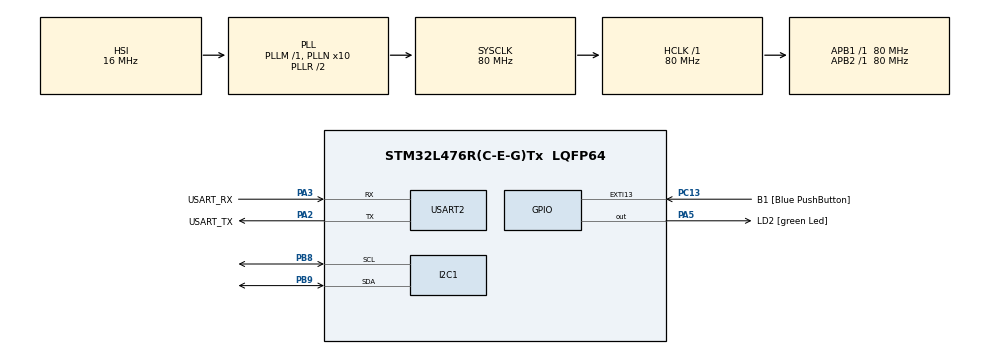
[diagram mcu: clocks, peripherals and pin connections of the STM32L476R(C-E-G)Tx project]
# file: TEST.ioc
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I2C1.Timing=0x10D19CE4
Mcu.Family=STM32L4
Mcu.Name=STM32L476R(C-E-G)Tx
Mcu.Package=LQFP64
NVIC.PriorityGroup=NVIC_PRIORITYGROUP_4
PA13\ (JTMS-SWDIO).GPIO_Label=TMS
PA13\ (JTMS-SWDIO).Mode=Serial_Wire
PA13\ (JTMS-SWDIO).Signal=SYS_JTMS-SWDIO
PA14\ (JTCK-SWCLK).GPIO_Label=TCK
PA14\ (JTCK-SWCLK).Mode=Serial_Wire
PA14\ (JTCK-SWCLK).Signal=SYS_JTCK-SWCLK
PA2.GPIO_Label=USART_TX
PA2.GPIO_Mode=GPIO_MODE_AF_PP
PA2.GPIO_PuPd=GPIO_NOPULL
PA2.GPIO_Speed=GPIO_SPEED_FREQ_VERY_HIGH
PA2.Mode=Asynchronous
PA2.Signal=USART2_TX
PA3.GPIO_Label=USART_RX
PA3.GPIO_Mode=GPIO_MODE_AF_PP
PA3.GPIO_PuPd=GPIO_NOPULL
PA3.GPIO_Speed=GPIO_SPEED_FREQ_VERY_HIGH
PA3.Mode=Asynchronous
PA3.Signal=USART2_RX
PA5.GPIO_Label=LD2 [green Led]
PA5.GPIO_ModeDefaultOutputPP=GPIO_MODE_OUTPUT_PP
PA5.GPIO_PuPd=GPIO_NOPULL
PA5.GPIO_Speed=GPIO_SPEED_FREQ_LOW
PA5.Signal=GPIO_Output
PB3\ (JTDO-TRACESWO).GPIO_Label=SWO
PB3\ (JTDO-TRACESWO).Signal=SYS_JTDO-SWO
PB8.Mode=I2C
PB8.Signal=I2C1_SCL
PB9.Mode=I2C
PB9.Signal=I2C1_SDA
PC13.GPIO_Label=B1 [Blue PushButton]
PC13.GPIO_ModeDefaultEXTI=GPIO_MODE_IT_FALLING
PC13.GPIO_PuPd=GPIO_NOPULL
PC13.Signal=GPXTI13
PC14-OSC32_IN\ (PC14).Mode=LSE-External-Oscillator
PC14-OSC32_IN\ (PC14).Signal=RCC_OSC32_IN
PC15-OSC32_OUT\ (PC15).Mode=LSE-External-Oscillator
PC15-OSC32_OUT\ (PC15).Signal=RCC_OSC32_OUT
PH0-OSC_IN\ (PH0).Signal=RCC_OSC_IN
PH1-OSC_OUT\ (PH1).Signal=RCC_OSC_OUT
ProjectManager.HeapSize=0x200
ProjectManager.StackSize=0x400
ProjectManager.TargetToolchain=STM32CubeIDE
RCC.ADCFreq_Value=64000000
RCC.AHBFreq_Value=80000000
RCC.APB1Freq_Value=80000000
RCC.APB1TimFreq_Value=80000000
RCC.APB2Freq_Value=80000000
RCC.APB2TimFreq_Value=80000000
RCC.CortexFreq_Value=80000000
RCC.HCLKFreq_Value=80000000
RCC.HSE_VALUE=8000000
RCC.HSI_VALUE=16000000
RCC.MSI_VALUE=4000000
RCC.PLLN=10
RCC.PLLSourceVirtual=RCC_PLLSOURCE_HSI
RCC.PREFETCH_ENABLE=1
RCC.SYSCLKFreq_VALUE=80000000
RCC.SYSCLKSource=RCC_SYSCLKSOURCE_PLLCLK
RCC.USBFreq_Value=64000000
RCC.VCOOutputFreq_Value=160000000
USART2.VirtualMode-Asynchronous=VM_ASYNC
VP_RTC_VS_RTC_Activate.Mode=RTC_Enabled
board=NUCLEO-L476RG

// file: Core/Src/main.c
/* USER CODE BEGIN Header */
/**
  ******************************************************************************
  * @file           : main.c
  * @brief          : Main program body
  ******************************************************************************
  * @attention
  *
  * Copyright (c) 2026 STMicroelectronics.
  * All rights reserved.
  *
  * This software is licensed under terms that can be found in the LICENSE file
  * in the root directory of this software component.
  * If no LICENSE file comes with this software, it is provided AS-IS.
  *
  ******************************************************************************
  */
/* USER CODE END Header */
#include "main.h"

/* USER CODE BEGIN Includes */
#include "bme68x_necessary_functions.h"  // Main header from the library
#include <stdio.h>

#include "scd4x_i2c.h"
#include "sensirion_i2c_hal.h"
#include <stdio.h>
#include "sps30_i2c.h"

/* USER CODE END Includes */

I2C_HandleTypeDef hi2c1;

RTC_HandleTypeDef hrtc;

UART_HandleTypeDef huart2;

/* USER CODE BEGIN PV */

//Data structure for BME688 sensor from the driver.
struct bme68x_data bme_data;

//Data structure for SCD41 sensor
typedef struct {
    uint16_t co2;           // CO₂ in ppm
    int32_t    temperature;   // °C
    int32_t    humidity;      // %RH
} scd41_data_t;

scd41_data_t scd41_data;

//Data structure for SPS30 sensor
typedef struct {
    float mc_1p0;   // Mass concentration PM1.0 [µg/m³]
    float mc_2p5;
    float mc_4p0;
    float mc_10p0;

    float nc_0p5;   // Number concentration [#/cm³]
    float nc_1p0;
    float nc_2p5;
    float nc_4p0;
    float nc_10p0;

    float typical_particle_size;  // µm
} sps30_data_t;

sps30_data_t sps30_data;

uint32_t last_frame_time = 0;
uint32_t reading_num = 0;

/* USER CODE END PV */

void SystemClock_Config(void);
static void MX_GPIO_Init(void);
static void MX_I2C1_Init(void);
static void MX_USART2_UART_Init(void);
static void MX_RTC_Init(void);
/* USER CODE BEGIN PFP */

int ei_add_sensor_reading(
    float co2,
    float temp,
    float humidity,
    float pressure,
    float gas_resistance,
    float pm1_0,
    float pm2_5,
    float pm4_0,
    float pm10_0,
    float pnc_0_5,
    float pnc_1_0,
    float pnc_2_5,
    float pnc_4_0,
    float pnc_10_0,
    float tps
);

/* USER CODE END PFP */

int main(void)
{

  /* MCU Configuration--------------------------------------------------------*/

  /* Reset of all peripherals, Initializes the Flash interface and the Systick. */
  HAL_Init();

  /* Configure the system clock */
  SystemClock_Config();

  /* Initialize all configured peripherals */
  MX_GPIO_Init();
  MX_I2C1_Init();
  MX_USART2_UART_Init();
  MX_RTC_Init();
  /* USER CODE BEGIN 2 */

// I2C SCANNER FUNCTION

  void I2C_Scan(I2C_HandleTypeDef *hi2c)
  {
      printf("Scanning I2C bus...\r\n");

      for (uint8_t i = 1; i < 127; i++)
      {
          if (HAL_I2C_IsDeviceReady(hi2c, (i << 1), 2, 10) == HAL_OK)
          {
              printf("Device found at 0x%02X\r\n", i);
          }
      }

      printf("Scan complete\r\n");
  }

  I2C_Scan(&hi2c1);

    if (bme68x_start(&bme_data, &hi2c1) != 0) {
        printf("BME688 initialization failed!\r\n");
        while(1);
    }
    printf("BME688 initialized successfully!\r\n");

    sensirion_i2c_hal_init();

        scd4x_init(0x62);                                 // Initialise sensor

        scd4x_stop_periodic_measurement();                // Safe start

        int16_t err = scd4x_start_periodic_measurement(); // Start continuous measurement
        if (err != 0) {
            printf("SCD41 initialisation failed! Error = %d\r\n", err);
            while(1);
        }

        printf("SCD41 initialised successfully!\r\n");
        printf("Waiting for first reading (~5-10 seconds)...\r\n\r\n");

        sps30_init(SPS30_I2C_ADDR_69);

        int16_t ret = sps30_wake_up_sequence();
            if (ret != 0) {
                printf("SPS30 wake-up failed: %d\r\n", ret);
            }

            ret = sps30_start_measurement(SPS30_OUTPUT_FORMAT_OUTPUT_FORMAT_FLOAT);
                if (ret != 0) {
                    printf("SPS30 start measurement failed! Error: %d\r\n", ret);
                } else {
                    printf("SPS30 initialised successfully (Float mode)\r\n");
                }

  /* USER CODE END 2 */

  /* Infinite loop */
  /* USER CODE BEGIN WHILE */

        HAL_Delay(15000);
          printf(",co2,temp,humidity,pressure,gas_resistance,pm1_0,pm2_5,pm4_0,pm10_0,pnc_0_5,pnc_1_0,pnc_2_5,pnc_4_0,pnc_10_0,tps\r\n");

  while (1)
  {
    /* USER CODE END WHILE */

    /* USER CODE BEGIN 3 */

	  uint32_t now = HAL_GetTick();

	      if (sps30_read_measurement_values_float(
	              &sps30_data.mc_1p0, &sps30_data.mc_2p5,
	              &sps30_data.mc_4p0, &sps30_data.mc_10p0,
	              &sps30_data.nc_0p5, &sps30_data.nc_1p0,
	              &sps30_data.nc_2p5, &sps30_data.nc_4p0,
	              &sps30_data.nc_10p0, &sps30_data.typical_particle_size) != 0)
	      {

	      }

	      bme68x_single_measure(&bme_data);

	        ei_add_sensor_reading(
	            (float)scd41_data.co2,
	            bme_data.temperature,
	            bme_data.humidity,
	            bme_data.pressure,
	            bme_data.gas_resistance,
	            sps30_data.mc_1p0,
	            sps30_data.mc_2p5,
	            sps30_data.mc_4p0,
	            sps30_data.mc_10p0,
	            sps30_data.nc_0p5,
	            sps30_data.nc_1p0,
	            sps30_data.nc_2p5,
	            sps30_data.nc_4p0,
	            sps30_data.nc_10p0,
	            sps30_data.typical_particle_size
	        );

	      if (now - last_frame_time >= 5000)   // 5 second MASTER FRAME
	      {
	          last_frame_time = now;

	          scd4x_get_data_ready_status(false);
	          scd4x_read_measurement(
	              &scd41_data.co2,
	              &scd41_data.temperature,
	              &scd41_data.humidity
	          );

	          uint32_t ms = now;
	          uint32_t seconds = ms / 1000;
	          uint32_t minutes = seconds / 60;
	          uint32_t hours   = minutes / 60;

	          seconds %= 60;
	          minutes %= 60;
	          hours %= 24;

		       // printf("%02lu:%02lu:%02lu, %lu, %4u, %.2f, %.2f, %.2f, %.2f, %.2f, %.2f, %.2f, %.2f, %.2f, %.2f, %.2f, %.2f, %.2f, %.2f\r\n",
				        printf(",%4u, %.2f, %.2f, %.2f, %.2f, %.2f, %.2f, %.2f, %.2f, %.2f, %.2f, %.2f, %.2f, %.2f, %.2f\r\n",

		                       scd41_data.co2,
		                       bme_data.temperature, bme_data.humidity, bme_data.pressure,bme_data.gas_resistance,
		                          sps30_data.mc_1p0, sps30_data.mc_2p5,
		                          sps30_data.mc_4p0, sps30_data.mc_10p0,
		                          sps30_data.nc_0p5, sps30_data.nc_1p0,
		                          sps30_data.nc_2p5, sps30_data.nc_4p0,
		                          sps30_data.nc_10p0, sps30_data.typical_particle_size);

//   TIME | # | CO2 | TEMP | HUMIDITY |PRESSURE | GAS RESISTANCE | PM1.0 | PM2.5| PM4.0 | PM10.0| PNC 0.5 | PNC 1.0 | PNC 2.5 | PNC 4.0 |PNC 10.0| TPS

	      }

	/*

	  int16_t ret = sps30_read_measurement_values_float(
	                          &sps30_data.mc_1p0, &sps30_data.mc_2p5,
	                          &sps30_data.mc_4p0, &sps30_data.mc_10p0,
	                          &sps30_data.nc_0p5, &sps30_data.nc_1p0,
	                          &sps30_data.nc_2p5, &sps30_data.nc_4p0,
	                          &sps30_data.nc_10p0, &sps30_data.typical_particle_size);

	          if (ret != 0) {
	              printf("SPS30 read error: %d\r\n", ret);
	          }

	    bme68x_single_measure(&bme_data);

	    scd4x_get_data_ready_status(false);
	    scd4x_read_measurement(&scd41_data.co2, &scd41_data.temperature, &scd41_data.humidity);

	        uint32_t ms = HAL_GetTick();

	        uint32_t seconds = ms / 1000;
	        uint32_t minutes = seconds / 60;
	        uint32_t hours   = minutes / 60;

	        seconds = seconds % 60;
	        minutes = minutes % 60;
	        hours   = hours % 24;

	        printf(" %02lu:%02lu:%02lu | #%lu | CO2= %4uppm | TEMP= %.2f°C | HUMIDITY= %.2f%% |PRESSURE = %.2f | GAS RESISTANCE = %.2f | PM1.0= %.2f | PM2.5= %.2f | PM4.0= %.2f | PM10.0= %.2f | PNC 0.5= %.2f | PNC 1.0= %.2f | PNC 2.5= %.2f | PNC 4.0= %.2f |PNC 10.0= %.2f  | TPS= %.2f \r\n",

	        	       hours, minutes, seconds,
	        		reading_num++,
	                       scd41_data.co2,
	                       bme_data.temperature, bme_data.humidity, bme_data.pressure,bme_data.gas_resistance,
	                          sps30_data.mc_1p0, sps30_data.mc_2p5,
	                          sps30_data.mc_4p0, sps30_data.mc_10p0,
	                          sps30_data.nc_0p5, sps30_data.nc_1p0,
	                          sps30_data.nc_2p5, sps30_data.nc_4p0,
	                          sps30_data.nc_10p0, sps30_data.typical_particle_size);

*/

  }

  /* USER CODE END 3 */
}

void SystemClock_Config(void)
{
  RCC_OscInitTypeDef RCC_OscInitStruct = {0};
  RCC_ClkInitTypeDef RCC_ClkInitStruct = {0};

  /** Configure the main internal regulator output voltage
  */
  if (HAL_PWREx_ControlVoltageScaling(PWR_REGULATOR_VOLTAGE_SCALE1) != HAL_OK)
  {
    Error_Handler();
  }

  /** Initializes the RCC Oscillators according to the specified parameters
  * in the RCC_OscInitTypeDef structure.
  */
  RCC_OscInitStruct.OscillatorType = RCC_OSCILLATORTYPE_HSI|RCC_OSCILLATORTYPE_LSI;
  RCC_OscInitStruct.HSIState = RCC_HSI_ON;
  RCC_OscInitStruct.HSICalibrationValue = RCC_HSICALIBRATION_DEFAULT;
  RCC_OscInitStruct.LSIState = RCC_LSI_ON;
  RCC_OscInitStruct.PLL.PLLState = RCC_PLL_ON;
  RCC_OscInitStruct.PLL.PLLSource = RCC_PLLSOURCE_HSI;
  RCC_OscInitStruct.PLL.PLLM = 1;
  RCC_OscInitStruct.PLL.PLLN = 10;
  RCC_OscInitStruct.PLL.PLLP = RCC_PLLP_DIV7;
  RCC_OscInitStruct.PLL.PLLQ = RCC_PLLQ_DIV2;
  RCC_OscInitStruct.PLL.PLLR = RCC_PLLR_DIV2;
  if (HAL_RCC_OscConfig(&RCC_OscInitStruct) != HAL_OK)
  {
    Error_Handler();
  }

  /** Initializes the CPU, AHB and APB buses clocks
  */
  RCC_ClkInitStruct.ClockType = RCC_CLOCKTYPE_HCLK|RCC_CLOCKTYPE_SYSCLK
                              |RCC_CLOCKTYPE_PCLK1|RCC_CLOCKTYPE_PCLK2;
  RCC_ClkInitStruct.SYSCLKSource = RCC_SYSCLKSOURCE_PLLCLK;
  RCC_ClkInitStruct.AHBCLKDivider = RCC_SYSCLK_DIV1;
  RCC_ClkInitStruct.APB1CLKDivider = RCC_HCLK_DIV1;
  RCC_ClkInitStruct.APB2CLKDivider = RCC_HCLK_DIV1;

  if (HAL_RCC_ClockConfig(&RCC_ClkInitStruct, FLASH_LATENCY_4) != HAL_OK)
  {
    Error_Handler();
  }
}

static void MX_I2C1_Init(void)
{

  hi2c1.Instance = I2C1;
  hi2c1.Init.Timing = 0x10D19CE4;
  hi2c1.Init.OwnAddress1 = 0;
  hi2c1.Init.AddressingMode = I2C_ADDRESSINGMODE_7BIT;
  hi2c1.Init.DualAddressMode = I2C_DUALADDRESS_DISABLE;
  hi2c1.Init.OwnAddress2 = 0;
  hi2c1.Init.OwnAddress2Masks = I2C_OA2_NOMASK;
  hi2c1.Init.GeneralCallMode = I2C_GENERALCALL_DISABLE;
  hi2c1.Init.NoStretchMode = I2C_NOSTRETCH_DISABLE;
  if (HAL_I2C_Init(&hi2c1) != HAL_OK)
  {
    Error_Handler();
  }

  /** Configure Analogue filter
  */
  if (HAL_I2CEx_ConfigAnalogFilter(&hi2c1, I2C_ANALOGFILTER_ENABLE) != HAL_OK)
  {
    Error_Handler();
  }

  /** Configure Digital filter
  */
  if (HAL_I2CEx_ConfigDigitalFilter(&hi2c1, 0) != HAL_OK)
  {
    Error_Handler();
  }

}

static void MX_RTC_Init(void)
{

  /** Initialize RTC Only
  */
  hrtc.Instance = RTC;
  hrtc.Init.HourFormat = RTC_HOURFORMAT_24;
  hrtc.Init.AsynchPrediv = 127;
  hrtc.Init.SynchPrediv = 255;
  hrtc.Init.OutPut = RTC_OUTPUT_DISABLE;
  hrtc.Init.OutPutRemap = RTC_OUTPUT_REMAP_NONE;
  hrtc.Init.OutPutPolarity = RTC_OUTPUT_POLARITY_HIGH;
  hrtc.Init.OutPutType = RTC_OUTPUT_TYPE_OPENDRAIN;
  if (HAL_RTC_Init(&hrtc) != HAL_OK)
  {
    Error_Handler();
  }

}

static void MX_USART2_UART_Init(void)
{

  huart2.Instance = USART2;
  huart2.Init.BaudRate = 115200;
  huart2.Init.WordLength = UART_WORDLENGTH_8B;
  huart2.Init.StopBits = UART_STOPBITS_1;
  huart2.Init.Parity = UART_PARITY_NONE;
  huart2.Init.Mode = UART_MODE_TX_RX;
  huart2.Init.HwFlowCtl = UART_HWCONTROL_NONE;
  huart2.Init.OverSampling = UART_OVERSAMPLING_16;
  huart2.Init.OneBitSampling = UART_ONE_BIT_SAMPLE_DISABLE;
  huart2.AdvancedInit.AdvFeatureInit = UART_ADVFEATURE_NO_INIT;
  if (HAL_UART_Init(&huart2) != HAL_OK)
  {
    Error_Handler();
  }

}

static void MX_GPIO_Init(void)
{
  GPIO_InitTypeDef GPIO_InitStruct = {0};

  /* GPIO Ports Clock Enable */
  __HAL_RCC_GPIOC_CLK_ENABLE();
  __HAL_RCC_GPIOH_CLK_ENABLE();
  __HAL_RCC_GPIOA_CLK_ENABLE();
  __HAL_RCC_GPIOB_CLK_ENABLE();

  /*Configure GPIO pin Output Level */
  HAL_GPIO_WritePin(LD2_GPIO_Port, LD2_Pin, GPIO_PIN_RESET);

  /*Configure GPIO pin : B1_Pin */
  GPIO_InitStruct.Pin = B1_Pin;
  GPIO_InitStruct.Mode = GPIO_MODE_IT_FALLING;
  GPIO_InitStruct.Pull = GPIO_NOPULL;
  HAL_GPIO_Init(B1_GPIO_Port, &GPIO_InitStruct);

  /*Configure GPIO pin : LD2_Pin */
  GPIO_InitStruct.Pin = LD2_Pin;
  GPIO_InitStruct.Mode = GPIO_MODE_OUTPUT_PP;
  GPIO_InitStruct.Pull = GPIO_NOPULL;
  GPIO_InitStruct.Speed = GPIO_SPEED_FREQ_LOW;
  HAL_GPIO_Init(LD2_GPIO_Port, &GPIO_InitStruct);

}

/* USER CODE BEGIN 4 */
int _write(int file, char *ptr, int len)
{
    HAL_UART_Transmit(&huart2, (uint8_t*)ptr, len, HAL_MAX_DELAY);
    return len;
}

/* USER CODE END 4 */

void Error_Handler(void)
{
  __disable_irq();
  while (1)
  {
  }
}
